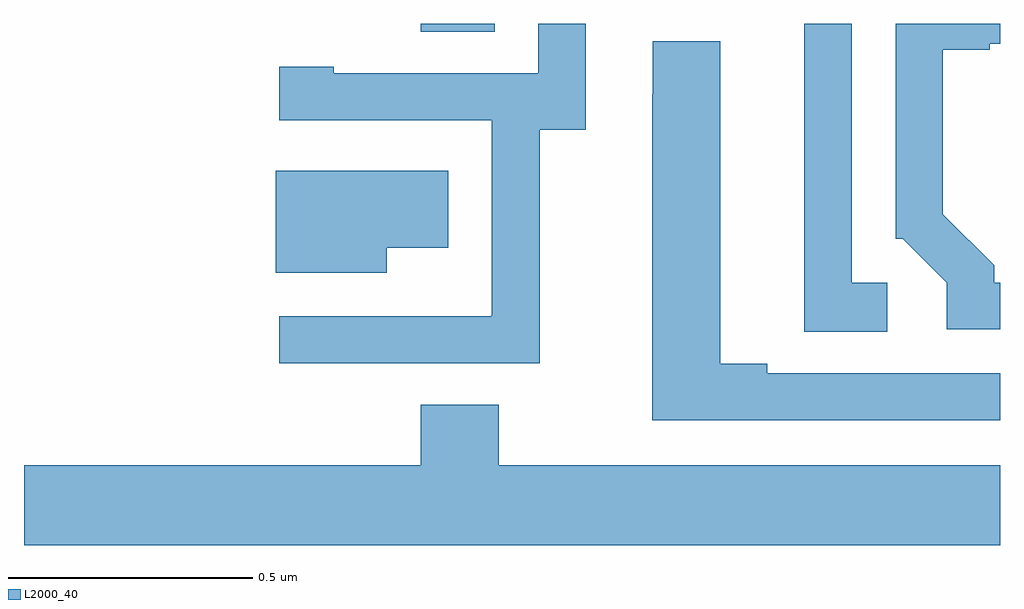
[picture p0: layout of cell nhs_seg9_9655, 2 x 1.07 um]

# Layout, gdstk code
import gdstk
lib = gdstk.Library(unit=1e-6, precision=1e-09)
def R(c, l, rs):  # rectangles x0, y0, x1, y1
    for r in rs: c.add(gdstk.rectangle(r[:2], r[2:], *l))
def P(c, l, *ps):  # polygons
    for p in ps: c.add(gdstk.Polygon(p, *l))
L2000_40 = (2000, 40)

nhs_seg9_9655 = lib.new_cell('nhs_seg9_9655')
R(nhs_seg9_9655, L2000_40, [(233.813,1185.484,233.965,1185.5)])
P(nhs_seg9_9655, L2000_40, [(234.057,1185.283),(234.151,1185.283),(234.151,1185.5),(234.054,1185.5),(234.054,1185.399),(233.635,1185.399),(233.635,1185.412),(233.523,1185.412),(233.523,1185.303),(233.958,1185.303),(233.958,1184.902),(233.957,1184.902),(233.957,1184.901),(233.523,1184.901),(233.523,1184.805),(234.057,1184.805)],
  [(234.769,1184.97),(234.696,1184.97),(234.696,1185.5),(234.599,1185.5),(234.599,1184.869),(234.769,1184.869)],
  [(235,1184.97),(234.988,1184.97),(234.988,1185.005),(234.883,1185.11),(234.883,1185.447),(234.979,1185.447),(234.979,1185.459),(235,1185.459),(235,1185.5),(234.786,1185.5),(234.786,1185.06),(234.801,1185.06),(234.891,1184.97),(234.891,1184.874),(235,1184.874)],
  [(235,1184.784),(234.523,1184.784),(234.523,1184.804),(234.427,1184.804),(234.427,1185.464),(234.288,1185.464),(234.288,1185.356),(234.287,1185.356),(234.287,1184.688),(235,1184.688)],
  [(233.743,1185.041),(233.869,1185.041),(233.869,1185.199),(233.516,1185.199),(233.516,1184.99),(233.743,1184.99)],
  [(235,1184.596),(233.973,1184.596),(233.973,1184.72),(233.813,1184.72),(233.813,1184.596),(233,1184.596),(233,1184.432),(235,1184.432)])

lib.write_gds('nhs_seg9_9655.gds')
